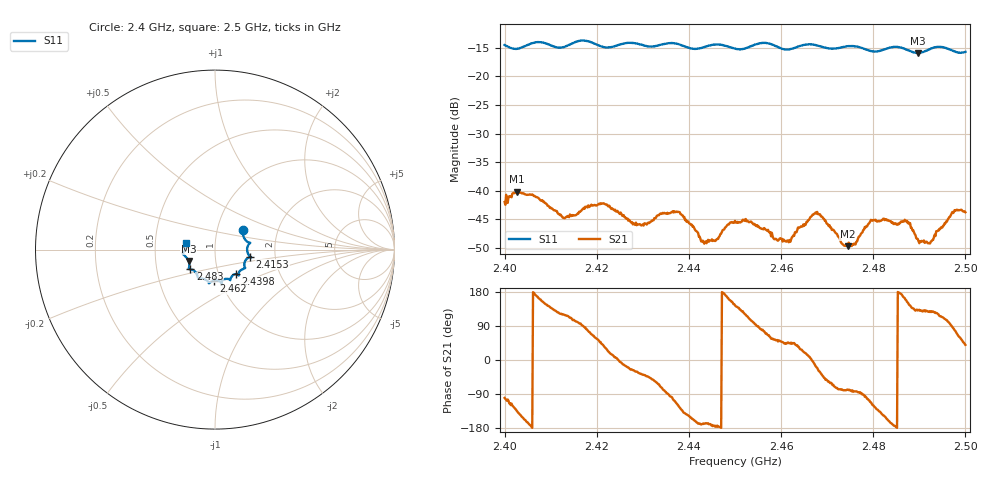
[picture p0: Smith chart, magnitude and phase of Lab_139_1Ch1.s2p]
# Hz S RI R 50
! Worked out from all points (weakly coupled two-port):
!   601 points, 2.4 GHz to 2.5 GHz, reference 50 ohm
!   highest |S21| = -40.16 dB at 2.4027 GHz (marker M1); lowest = -49.7 dB at 2.4745 GHz (marker M2)
!   lowest |S11| = -15.9 dB at 2.4897 GHz (marker M3), VSWR 1.38, Z = 36.9 - j4.81 ohm
!   |S11| at or under -10 dB: start of sweep to end of sweep
!   S12 and S22 are empty: the file has one direction only
!   S11 on the Smith chart (normalised r, x): 2.4 GHz: 1.33, +0.29; 2.4153 GHz: 1.48, -0.12; 2.4398 GHz: 1.21, -0.34; 2.462 GHz: 0.93, -0.33; 2.483 GHz: 0.74, -0.17; 2.5 GHz: 0.72, +0.06
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2.4e9  0.1555 0.1066  -0.0014 -0.00787  0 0  0 0
2.402667e9  0.1623 0.0643  -0.0069 -0.00698  0 0  0 0
2.415333e9  0.196 -0.0388  -0.00136 0.00595  0 0  0 0
2.416667e9  0.2018 -0.0427  -0.000367 0.00671  0 0  0 0
2.421667e9  0.1698 -0.0604  0.00633 0.00436  0 0  0 0
2.429167e9  0.1603 -0.1062  0.00421 -0.00289  0 0  0 0
2.433333e9  0.1309 -0.1334  0.00273 -0.00549  0 0  0 0
2.4375e9  0.1309 -0.1419  -0.00299 -0.00581  0 0  0 0
2.439833e9  0.1154 -0.1363  -0.00448 -0.00301  0 0  0 0
2.443333e9  0.0882 -0.158  -0.00337 -0.00074  0 0  0 0
2.45e9  0.0646 -0.1629  -0.00445 0.00319  0 0  0 0
2.462e9  -0.00487 -0.1733  0.0026 0.00246  0 0  0 0
2.466667e9  -0.0344 -0.1878  0.00603 -7.59e-05  0 0  0 0
2.4745e9  -0.0905 -0.1605  0.000669 -0.00321  0 0  0 0
2.479667e9  -0.1076 -0.1271  -0.00234 -0.00501  0 0  0 0
2.483e9  -0.1376 -0.1097  -0.00503 -0.00225  0 0  0 0
2.483333e9  -0.14 -0.1095  -0.00519 -0.00183  0 0  0 0
2.4875e9  -0.1428 -0.0922  -0.00459 0.00248  0 0  0 0
2.489667e9  -0.1475 -0.0636  -0.00247 0.00288  0 0  0 0
2.492333e9  -0.1709 -0.032  -0.00206 0.00279  0 0  0 0
2.4975e9  -0.1664 -0.000946  0.000931 0.00645  0 0  0 0
2.5e9  -0.1595 0.039  0.00499 0.00417  0 0  0 0
